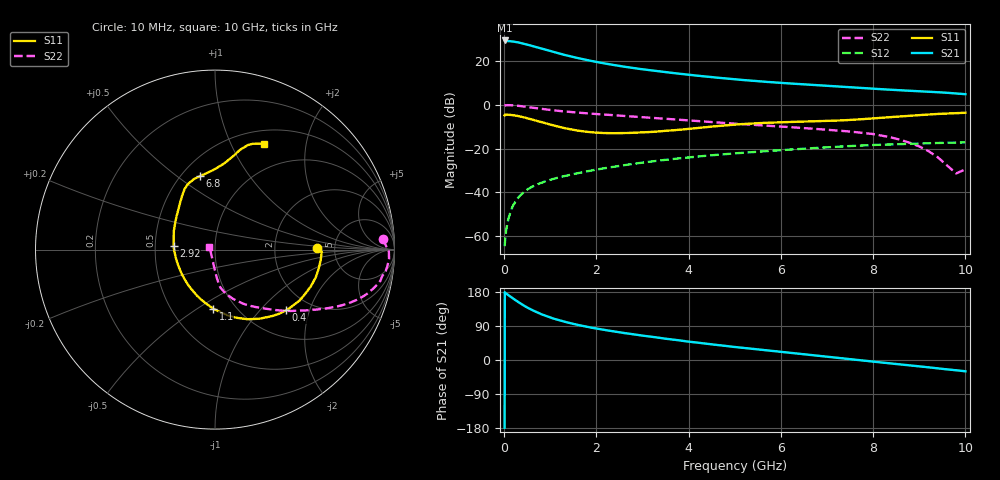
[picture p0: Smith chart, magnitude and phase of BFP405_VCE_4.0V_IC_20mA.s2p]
! Infineon Technologies  Discrete & RF Semiconductors
! BFP405
! VCE =  4.0 V,  IC =  20 mA
! Common Emitter S-Parameters:  Jan 2016
# GHz  S  MA  R  50
!  f  S11  S21  S12  S22
! GHz  MAG  ANG  MAG  ANG  MAG  ANG  MAG  ANG
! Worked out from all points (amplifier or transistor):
!   233 points, 10 MHz to 10 GHz, reference 50 ohm
!   highest |S21| = 29.2 dB at 10 MHz (marker M1)
!   |S21| within 3 dB of that: start of sweep to 690.2 MHz
!   unconditionally stable (mu >= 1): start of sweep to 28.25 MHz; 1.957 GHz to end of sweep
!   at 200 MHz: K = 0.28, MSG = 37.2 dB, |S12| = -45.7 dB
!   at 1.74 GHz: K = 0.94, MSG = 25.5 dB, |S12| = -30.6 dB
!   at 10 GHz: K = 1.34, MAG = 7.5 dB, |S12| = -17.2 dB
!   S11 on the Smith chart (normalised r, x): 10 MHz: 3.63, +0.07; 400 MHz: 1.52, -1.41; 1.1 GHz: 0.79, -0.58; 2.92 GHz: 0.63, +0.03; 6.8 GHz: 0.62, +0.61; 10 GHz: 0.66, +1.34
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0.01  0.5683 0.7  28.72 -178.9  0.0006 85.3  0.9377 3.5
0.02  0.5946 -1.1  28.37 176.7  0.0008 95.2  0.9549 0.9
0.05  0.5928 -5.0  27.91 175.0  0.0015 81.9  0.9688 -0.7
0.1  0.5875 -10.3  27.84 170.3  0.0027 75.3  0.9712 -3.1
0.2  0.5721 -20.9  27.07 161.8  0.0052 78.8  0.9583 -7.2
0.3  0.5496 -31.2  26.02 153.5  0.0075 76.8  0.9378 -10.7
0.4  0.5208 -40.5  24.67 145.6  0.0096 73.4  0.9086 -13.8
0.5  0.489 -49.2  23.2 138.5  0.0116 71.1  0.8801 -16.4
0.6  0.4573 -57.4  21.65 132.1  0.0134 69.4  0.8518 -18.6
0.7  0.4279 -65.0  20.2 126.4  0.015 67.9  0.8244 -20.4
0.9  0.3737 -79.0  17.59 116.4  0.018 65.9  0.7748 -23.5
1.1  0.3284 -92.0  15.38 108.1  0.0208 64.7  0.7335 -25.9
1.4  0.2784 -110.2  12.76 98.1  0.0248 63.6  0.683 -28.9
1.68  0.2487 -126.2  10.93 90.5  0.0286 62.7  0.645 -31.3
2.18  0.2247 -152.7  8.605 79.3  0.0356 61.0  0.5912 -35.1
2.92  0.2308 175.1  6.517 65.8  0.0466 57.4  0.5248 -40.6
3.4  0.2471 158.3  5.624 58.0  0.0538 54.3  0.4836 -44.3
4  0.2798 140.6  4.757 48.4  0.0628 50.1  0.4351 -49.2
5.1  0.356 120.5  3.677 33.1  0.0789 41.6  0.3622 -59.1
6.8  0.4174 101.6  2.745 11.2  0.1035 28.2  0.2768 -72.1
8.4  0.5196 80.0  2.166 -9.3  0.1242 13.4  0.1771 -84.7
10  0.65 65.3  1.722 -29.8  0.1381 0.0  0.0335 156.3
